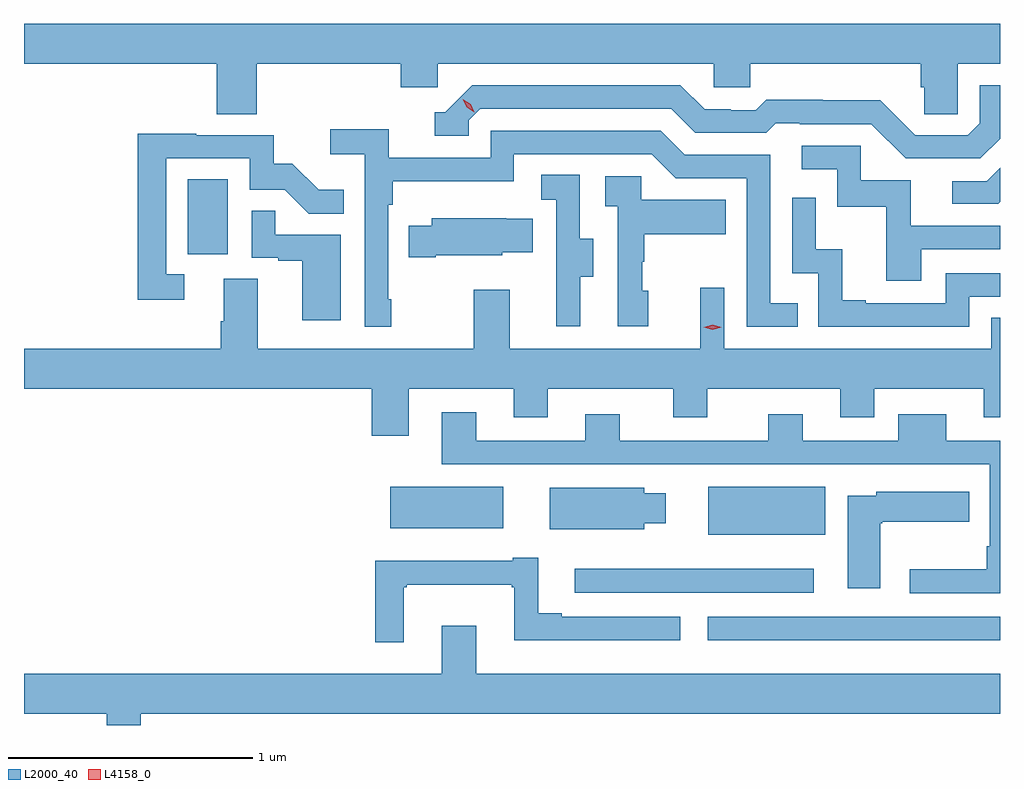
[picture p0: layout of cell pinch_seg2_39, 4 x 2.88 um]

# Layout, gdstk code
import gdstk
lib = gdstk.Library(unit=1e-6, precision=1e-09)
def R(c, l, rs):  # rectangles x0, y0, x1, y1
    for r in rs: c.add(gdstk.rectangle(r[:2], r[2:], *l))
def P(c, l, *ps):  # polygons
    for p in ps: c.add(gdstk.Polygon(p, *l))
L2000_40 = (2000, 40)
L4158_0 = (4158, 0)

pinch_seg2_39 = lib.new_cell('pinch_seg2_39')
R(pinch_seg2_39, L2000_40, [(1129.599,650.6,1130.796,650.697), (1129.053,650.796,1130.032,650.893), (1129.601,651.032,1130.08,651.229), (1128.296,651.059,1128.76,651.229), (1127.468,652.182,1127.632,652.489)])
P(pinch_seg2_39, L2000_40, [(1127.75,652.964),(1128.341,652.964),(1128.341,652.866),(1128.492,652.866),(1128.492,652.964),(1129.623,652.964),(1129.623,652.866),(1129.773,652.866),(1129.773,652.964),(1130.471,652.964),(1130.471,652.866),(1130.485,652.866),(1130.485,652.756),(1130.622,652.756),(1130.622,652.964),(1130.796,652.964),(1130.796,653.128),(1126.796,653.128),(1126.796,652.964),(1127.585,652.964),(1127.585,652.756),(1127.75,652.756)],
  [(1130.796,652.656),(1130.796,652.875),(1130.712,652.875),(1130.712,652.719),(1130.664,652.671),(1130.448,652.671),(1130.306,652.813),(1130.07,652.813),(1130.07,652.816),(1129.837,652.816),(1129.795,652.773),(1129.692,652.773),(1129.692,652.776),(1129.585,652.776),(1129.486,652.875),(1128.633,652.875),(1128.522,652.764),(1128.479,652.764),(1128.479,652.668),(1128.618,652.668),(1128.618,652.731),(1128.666,652.779),(1129.449,652.779),(1129.548,652.68),(1129.837,652.68),(1129.876,652.719),(1129.975,652.719),(1129.975,652.716),(1130.268,652.716),(1130.409,652.575),(1130.715,652.575)],
  [(1128.301,651.997),(1128.288,651.997),(1128.288,652.385),(1128.308,652.385),(1128.308,652.481),(1128.804,652.481),(1128.804,652.593),(1129.368,652.593),(1129.467,652.494),(1129.758,652.494),(1129.758,651.885),(1129.967,651.885),(1129.967,651.981),(1129.854,651.981),(1129.854,652.59),(1129.504,652.59),(1129.405,652.689),(1128.708,652.689),(1128.708,652.578),(1128.29,652.578),(1128.29,652.694),(1128.051,652.694),(1128.051,652.592),(1128.192,652.592),(1128.192,651.885),(1128.301,651.885)],
  [(1127.452,652.101),(1127.379,652.101),(1127.379,652.575),(1127.721,652.575),(1127.721,652.446),(1127.865,652.446),(1127.963,652.348),(1128.107,652.348),(1128.107,652.447),(1128.003,652.447),(1127.896,652.554),(1127.82,652.554),(1127.82,652.671),(1127.501,652.671),(1127.501,652.676),(1127.263,652.676),(1127.263,651.996),(1127.452,651.996)],
  [(1130.473,652.203),(1130.796,652.203),(1130.796,652.299),(1130.431,652.299),(1130.431,652.485),(1130.226,652.485),(1130.226,652.626),(1129.983,652.626),(1129.983,652.53),(1130.13,652.53),(1130.13,652.377),(1130.329,652.377),(1130.329,652.074),(1130.473,652.074)],
  [(1130.796,652.397),(1130.796,652.536),(1130.742,652.482),(1130.601,652.482),(1130.601,652.389),(1130.788,652.389)],
  [(1129.075,652.09),(1129.129,652.09),(1129.129,652.245),(1129.074,652.245),(1129.074,652.508),(1128.915,652.508),(1128.915,652.405),(1128.978,652.405),(1128.978,652.101),(1128.977,652.101),(1128.977,651.888),(1129.075,651.888)],
  [(1129.354,652.032),(1129.329,652.032),(1129.329,652.151),(1129.339,652.151),(1129.339,652.265),(1129.673,652.265),(1129.673,652.405),(1129.326,652.405),(1129.326,652.503),(1129.179,652.503),(1129.179,652.379),(1129.23,652.379),(1129.23,651.888),(1129.354,651.888)],
  [(1130.67,652.008),(1130.796,652.008),(1130.796,652.104),(1130.574,652.104),(1130.574,651.981),(1130.245,651.981),(1130.245,651.994),(1130.15,651.994),(1130.15,652.202),(1130.04,652.202),(1130.04,652.414),(1129.944,652.414),(1129.944,652.104),(1130.052,652.104),(1130.052,651.885),(1130.67,651.885)],
  [(1128.094,652.263),(1127.825,652.263),(1127.825,652.361),(1127.73,652.361),(1127.73,652.167),(1127.837,652.167),(1127.837,652.155),(1127.936,652.155),(1127.936,651.912),(1128.094,651.912)],
  [(1128.484,652.178),(1128.756,652.178),(1128.756,652.19),(1128.881,652.19),(1128.881,652.327),(1128.773,652.327),(1128.773,652.33),(1128.467,652.33),(1128.467,652.3),(1128.373,652.3),(1128.373,652.171),(1128.484,652.171)],
  [(1128.373,651.632),(1128.803,651.632),(1128.803,651.515),(1128.943,651.515),(1128.943,651.632),(1129.457,651.632),(1129.457,651.515),(1129.597,651.515),(1129.597,651.632),(1130.141,651.632),(1130.141,651.515),(1130.281,651.515),(1130.281,651.632),(1130.729,651.632),(1130.729,651.515),(1130.796,651.515),(1130.796,651.923),(1130.76,651.923),(1130.76,651.796),(1129.665,651.796),(1129.665,652.045),(1129.568,652.045),(1129.568,651.796),(1128.787,651.796),(1128.787,652.036),(1128.64,652.036),(1128.64,651.796),(1127.755,651.796),(1127.755,652.082),(1127.615,652.082),(1127.615,651.908),(1127.603,651.908),(1127.603,651.796),(1126.796,651.796),(1126.796,651.632),(1128.221,651.632),(1128.221,651.438),(1128.373,651.438)],
  [(1130.796,651.417),(1130.575,651.417),(1130.575,651.526),(1130.378,651.526),(1130.378,651.417),(1129.987,651.417),(1129.987,651.526),(1129.847,651.526),(1129.847,651.417),(1129.237,651.417),(1129.237,651.526),(1129.097,651.526),(1129.097,651.417),(1128.649,651.417),(1128.649,651.535),(1128.509,651.535),(1128.509,651.321),(1130.754,651.321),(1130.754,650.986),(1130.742,650.986),(1130.742,650.891),(1130.427,650.891),(1130.427,650.793),(1130.796,650.793)],
  [(1129.338,651.08),(1129.426,651.08),(1129.426,651.202),(1129.338,651.202),(1129.338,651.226),(1128.95,651.226),(1128.95,651.056),(1129.338,651.056)],
  [(1130.305,651.079),(1130.313,651.079),(1130.313,651.086),(1130.669,651.086),(1130.669,651.208),(1130.289,651.208),(1130.289,651.193),(1130.171,651.193),(1130.171,650.814),(1130.305,650.814)],
  [(1128.352,650.817),(1128.364,650.817),(1128.364,650.828),(1128.795,650.828),(1128.795,650.817),(1128.806,650.817),(1128.806,650.6),(1129.486,650.6),(1129.486,650.697),(1129,650.697),(1129,650.71),(1128.904,650.71),(1128.904,650.938),(1128.8,650.938),(1128.8,650.926),(1128.235,650.926),(1128.235,650.592),(1128.352,650.592)],
  [(1127.275,650.3),(1130.796,650.3),(1130.796,650.464),(1128.649,650.464),(1128.649,650.659),(1128.509,650.659),(1128.509,650.464),(1126.796,650.464),(1126.796,650.3),(1127.135,650.3),(1127.135,650.251),(1127.275,650.251)])
P(pinch_seg2_39, L4158_0, [(1128.642,652.765),(1128.611,652.784),(1128.595,652.817),(1128.595,652.817),(1128.595,652.817),(1128.626,652.798),(1128.642,652.765),(1128.642,652.765)],
  [(1129.618,651.873),(1129.582,651.883),(1129.582,651.884),(1129.582,651.884),(1129.618,651.893),(1129.653,651.883),(1129.654,651.883),(1129.653,651.883)])

lib.write_gds('pinch_seg2_39.gds')
